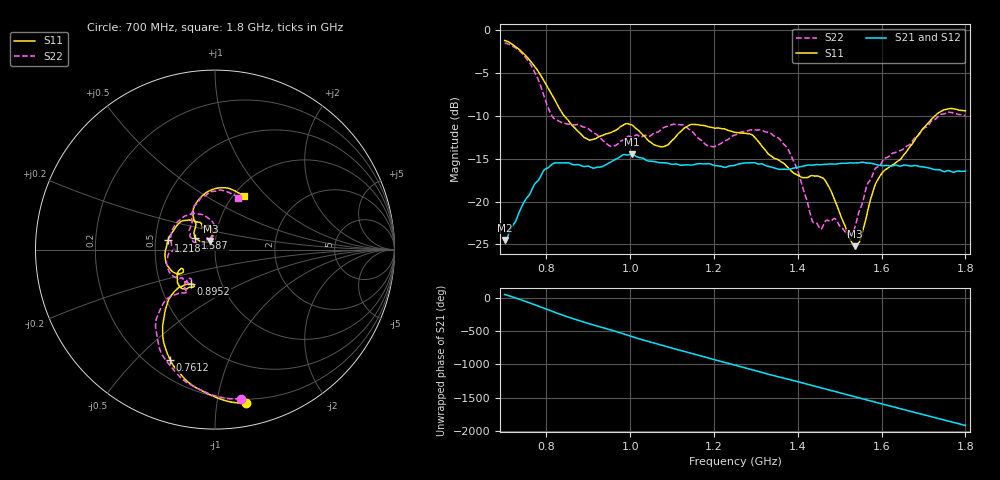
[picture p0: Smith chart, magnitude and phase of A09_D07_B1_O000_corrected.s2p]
! Created with skrf 1.9.0 (http://scikit-rf.org).
# Hz S RI R 50.0
!freq ReS11 ImS11 ReS21 ImS21 ReS12 ImS12 ReS22 ImS22
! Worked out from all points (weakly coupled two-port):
!   1601 points, 700 MHz to 1.8 GHz, reference 50 ohm
!   highest |S21| = -14.46 dB at 1.003 GHz (marker M1); lowest = -24.5 dB at 700 MHz (marker M2)
!   lowest |S11| = -25.2 dB at 1.535 GHz (marker M3), VSWR 1.12, Z = 47.2 + j4.58 ohm
!   |S11| at or under -10 dB: 842.6 MHz to 1.727 GHz (884.4 MHz wide, 68.8 % of centre)
!   |S22| runs from -23.9 to -1.5 dB; largest |S21 - S12| = 0.0036
!   S11 on the Smith chart (normalised r, x): 700 MHz: 0.17, -1.21; 761.2 MHz: 0.29, -0.63; 895.2 MHz: 0.72, -0.29; 1.218 GHz: 0.58, +0.06; 1.587 GHz: 0.80, +0.11; 1.8 GHz: 1.11, +0.75
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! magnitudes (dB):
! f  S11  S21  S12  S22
! 700 MHz  -1.2  -24.5  -24.3  -1.5
! 761.2 MHz  -3.6  -19.0  -18.9  -3.9
! 816.2 MHz  -7.8  -15.5  -15.6  -10.2
! 883.6 MHz  -12.2  -15.8  -15.7  -11.2
! 895.2 MHz  -12.6  -15.9  -16.0  -11.4
! 953 MHz  -11.9  -15.4  -15.4  -13.5
! 1.003 GHz  -11.0  -14.5  -14.6  -12.5
! 1.067 GHz  -13.5  -15.4  -15.4  -11.8
! 1.144 GHz  -11.0  -15.7  -15.7  -11.7
! 1.218 GHz  -11.5  -15.9  -15.9  -13.2
! 1.25 GHz  -11.9  -15.8  -15.7  -12.2
! 1.358 GHz  -15.3  -16.2  -16.2  -12.8
! 1.396 GHz  -16.8  -16.0  -16.0  -16.0
! 1.434 GHz  -17.0  -15.8  -15.7  -22.2
! 1.469 GHz  -17.8  -15.7  -15.6  -22.2
! 1.52 GHz  -24.0  -15.5  -15.5  -23.9
! 1.535 GHz  -25.2  -15.5  -15.5  -23.1
! 1.55 GHz  -24.4  -15.4  -15.4  -20.7
! 1.587 GHz  -17.8  -15.7  -15.7  -16.0
! 1.617 GHz  -16.0  -15.8  -15.8  -14.7
! 1.734 GHz  -9.7  -16.3  -16.3  -10.1
! 1.8 GHz  -9.4  -16.4  -16.4  -10.0
